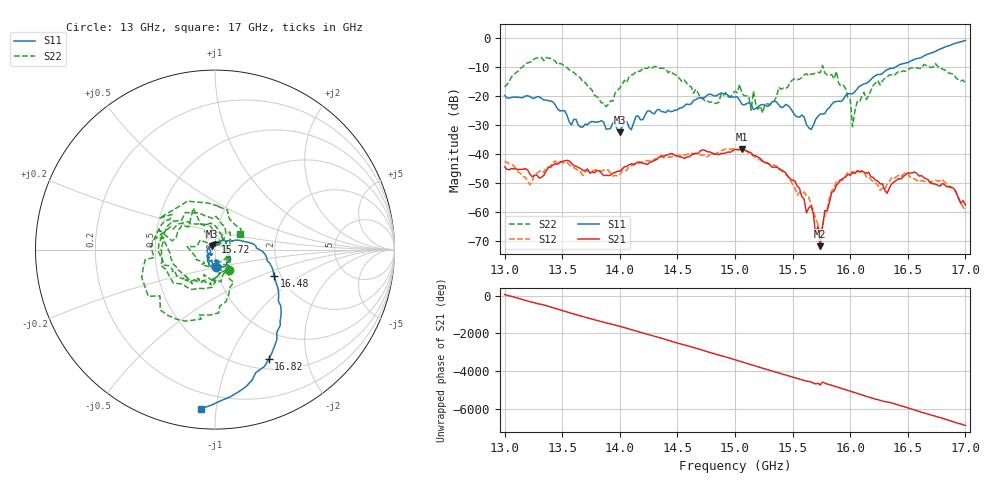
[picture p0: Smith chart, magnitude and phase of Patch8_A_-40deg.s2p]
!Keysight Technologies,P9374A,MY57211810,A.19.30.04
!Date: Friday, May 09, 2025 09:15:28
!Correction: S11(Cdelta 2-Port  )
!S21(Cdelta 2-Port  )
!S12(Cdelta 2-Port  )
!S22(Cdelta 2-Port  )
!S2P File: Measurements: S11, S21, S12, S22:
# Hz S  dB  R 50
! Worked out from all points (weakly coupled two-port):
!   201 points, 13 GHz to 17 GHz, reference 50 ohm
!   highest |S21| = -38.47 dB at 15.06 GHz (marker M1); lowest = -71.9 dB at 15.74 GHz (marker M2)
!   lowest |S11| = -32.7 dB at 14 GHz (marker M3), VSWR 1.05, Z = 48.5 + j1.73 ohm
!   |S11| at or under -10 dB: start of sweep to 16.4 GHz
!   |S22| runs from -30.7 to -6.9 dB; largest |S21 - S12| = 0.0025
!   S11 on the Smith chart (normalised r, x): 13 GHz: 0.99, -0.20; 15.72 GHz: 1.00, +0.09; 16.48 GHz: 1.85, -0.63; 16.82 GHz: 0.62, -1.41; 17 GHz: 0.11, -0.91
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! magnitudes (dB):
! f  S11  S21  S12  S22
! 13 GHz  -20.0  -44.6  -42.7  -17.1
! 13.32 GHz  -21.0  -48.2  -45.7  -6.9
! 13.68 GHz  -30.8  -45.9  -47.6  -15.3
! 13.88 GHz  -31.5  -47.5  -45.5  -23.8
! 14 GHz  -32.7  -46.1  -47.4  -17.4
! 14.34 GHz  -24.7  -41.2  -41.4  -10.6
! 14.74 GHz  -20.5  -38.9  -41.0  -22.1
! 15 GHz  -20.5  -38.6  -38.4  -18.5
! 15.06 GHz  -23.0  -38.5  -38.9  -19.3
! 15.24 GHz  -23.1  -42.6  -42.9  -26.0
! 15.68 GHz  -30.3  -60.7  -59.5  -12.6
! 15.72 GHz  -27.2  -64.9  -64.3  -12.0
! 15.74 GHz  -26.4  -71.9  -67.7  -12.1
! 15.78 GHz  -26.2  -59.6  -61.1  -12.2
! 15.88 GHz  -22.0  -51.0  -49.6  -11.7
! 16 GHz  -19.4  -47.6  -46.8  -21.1
! 16.02 GHz  -19.4  -46.5  -46.2  -30.7
! 16.06 GHz  -17.8  -46.0  -46.0  -22.2
! 16.34 GHz  -10.7  -51.9  -49.6  -12.9
! 16.48 GHz  -8.8  -47.3  -46.5  -11.7
! 16.82 GHz  -3.3  -50.8  -49.9  -11.1
! 17 GHz  -1.0  -57.8  -60.0  -15.8
